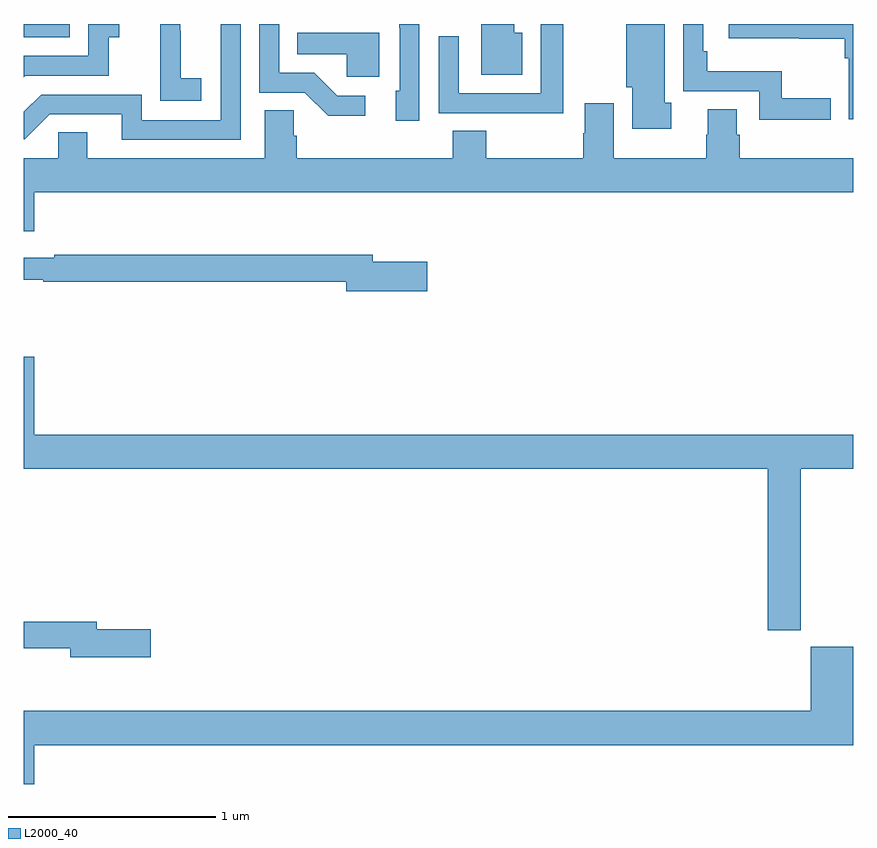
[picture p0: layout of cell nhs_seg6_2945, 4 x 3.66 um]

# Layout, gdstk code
import gdstk
lib = gdstk.Library(unit=1e-6, precision=1e-09)
def R(c, l, rs):  # rectangles x0, y0, x1, y1
    for r in rs: c.add(gdstk.rectangle(r[:2], r[2:], *l))
def P(c, l, *ps):  # polygons
    for p in ps: c.add(gdstk.Polygon(p, *l))
L2000_40 = (2000, 40)

nhs_seg6_2945 = lib.new_cell('nhs_seg6_2945')
R(nhs_seg6_2945, L2000_40, [(285,929.436,285.222,929.5)])
P(nhs_seg6_2945, L2000_40, [(286.908,929.5),(286.811,929.5),(286.811,929.482),(286.812,929.482),(286.812,929.178),(286.793,929.178),(286.793,929.034),(286.908,929.034)],
  [(286.047,929.5),(285.951,929.5),(285.951,929.037),(285.57,929.037),(285.57,929.16),(285.084,929.16),(285,929.076),(285,928.944),(285.006,928.944),(285.126,929.064),(285.473,929.064),(285.473,928.941),(286.047,928.941)],
  [(288.121,929.12),(288.091,929.12),(288.091,929.5),(287.906,929.5),(287.906,929.196),(287.933,929.196),(287.933,928.994),(288.121,928.994)],
  [(286.648,929.154),(286.513,929.154),(286.402,929.265),(286.233,929.265),(286.233,929.5),(286.137,929.5),(286.137,929.169),(286.356,929.169),(286.469,929.057),(286.648,929.057)],
  [(285.856,929.239),(285.758,929.239),(285.758,929.468),(285.756,929.468),(285.756,929.5),(285.659,929.5),(285.659,929.335),(285.658,929.335),(285.658,929.129),(285.856,929.129)],
  [(289,929.5),(288.399,929.5),(288.399,929.432),(288.739,929.432),(288.739,929.428),(288.958,929.428),(288.958,929.336),(288.978,929.336),(288.978,929.04),(289,929.04)],
  [(285.007,929.25),(285.411,929.25),(285.411,929.435),(285.46,929.435),(285.46,929.5),(285.312,929.5),(285.312,929.346),(285,929.346),(285,929.243)],
  [(288.892,929.141),(288.655,929.141),(288.655,929.272),(288.296,929.272),(288.296,929.368),(288.276,929.368),(288.276,929.5),(288.18,929.5),(288.18,929.175),(288.546,929.175),(288.546,929.039),(288.892,929.039)],
  [(287.602,929.5),(287.493,929.5),(287.493,929.166),(287.097,929.166),(287.097,929.44),(287.001,929.44),(287.001,929.07),(287.317,929.07),(287.317,929.069),(287.602,929.069)],
  [(287.404,929.458),(287.365,929.458),(287.365,929.5),(287.207,929.5),(287.207,929.255),(287.404,929.255)],
  [(286.714,929.458),(286.318,929.458),(286.318,929.354),(286.557,929.354),(286.557,929.246),(286.714,929.246)],
  [(285.052,928.688),(289,928.688),(289,928.852),(288.452,928.852),(288.452,928.965),(288.439,928.965),(288.439,929.09),(288.299,929.09),(288.299,928.965),(288.292,928.965),(288.292,928.852),(287.845,928.852),(287.845,929.119),(287.705,929.119),(287.705,928.973),(287.698,928.973),(287.698,928.852),(287.229,928.852),(287.229,928.985),(287.069,928.985),(287.069,928.852),(286.316,928.852),(286.316,928.961),(286.302,928.961),(286.302,929.084),(286.163,929.084),(286.163,928.852),(285.307,928.852),(285.307,928.979),(285.168,928.979),(285.168,928.852),(285,928.852),(285,928.5),(285.052,928.5)],
  [(286.945,928.353),(286.684,928.353),(286.684,928.387),(285.148,928.387),(285.148,928.374),(285,928.374),(285,928.266),(285.094,928.266),(285.094,928.258),(286.556,928.258),(286.556,928.211),(286.945,928.211)],
  [(288.747,927.356),(289,927.356),(289,927.52),(285.052,927.52),(285.052,927.895),(285,927.895),(285,927.356),(288.587,927.356),(288.587,926.577),(288.747,926.577)],
  [(285.613,926.582),(285.352,926.582),(285.352,926.618),(285,926.618),(285,926.49),(285.224,926.49),(285.224,926.447),(285.613,926.447)],
  [(285.052,926.024),(289,926.024),(289,926.497),(288.794,926.497),(288.794,926.188),(285,926.188),(285,925.836),(285.052,925.836)])

lib.write_gds('nhs_seg6_2945.gds')
